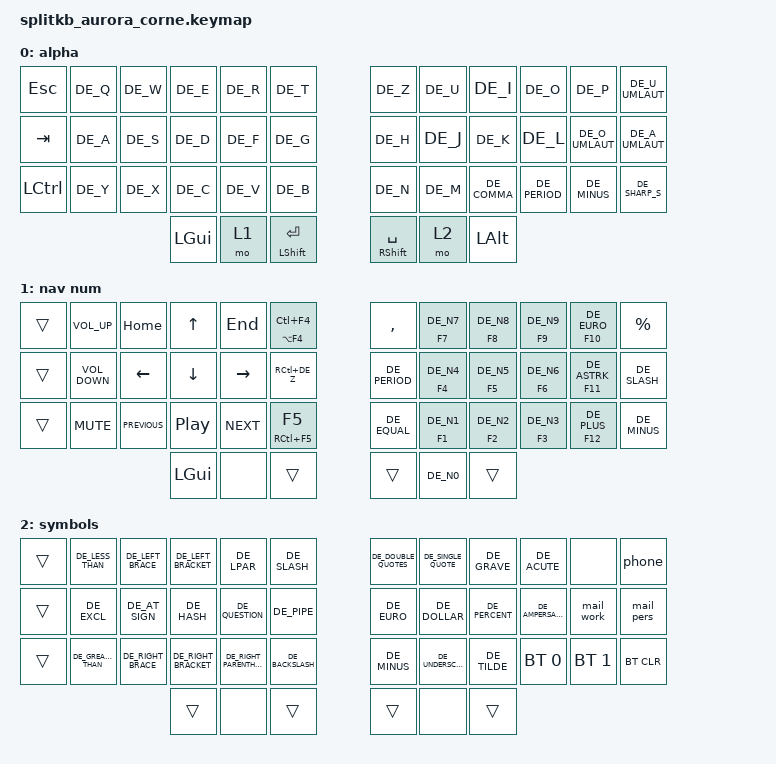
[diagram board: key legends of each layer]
/*
 * Copyright (c) 2020 The ZMK Contributors
 *
 * SPDX-License-Identifier: MIT
 */

#include "keys_de.h"
#include <behaviors.dtsi>
#include <dt-bindings/zmk/bt.h>
#include <dt-bindings/zmk/keys.h>

/ {
    behaviors {
        tapp_hold: tapp_hold {
            compatible = "zmk,behavior-hold-tap";
            label = "TAPP_HOLD";
            bindings = <&kp>, <&kp>;

            #binding-cells = <2>;
            tapping-term-ms = <200>;
            flavor = "balanced";
            hold-trigger-key-positions = <14 7 8 9 10 19 20 21 22 31 32 33 34 41 0 1 2 3 4 5 6 7 8 9 10 11 12 13 14 15 16 17 18 19 20 21 22 23 24 25 26 27 28 29 30 31 32 33 34 35 36 37 38 39 40 41>;
        };

        shift_hold: shift_hold {
            compatible = "zmk,behavior-hold-tap";
            label = "SHIFT_HOLD";
            bindings = <&kp>, <&kp>;

            #binding-cells = <2>;
            tapping-term-ms = <200>;
            flavor = "hold-preferred";
            hold-trigger-key-positions = <38 39 0 1 2 3 4 5 6 7 8 9 10 11 12 13 14 15 16 17 18 19 20 21 22 23 24 25 26 27 28 29 30 31 32 33 34 35 36 37 38 39 40 41>;
        };
    };

    combos {
        compatible = "zmk,combos";

        backspace_left {
            bindings = <&kp BACKSPACE>;
            key-positions = <16 15>;
            layers = <0 1 2>;
        };

        backspace_right {
            bindings = <&kp BACKSPACE>;
            key-positions = <19 20>;
            layers = <0 1 2>;
        };

        backspace_strg_left {
            bindings = <&kp LC(BACKSPACE)>;
            key-positions = <16 15 14>;
            layers = <0 1 2>;
        };

        backspace_strg_right {
            bindings = <&kp LC(BACKSPACE)>;
            key-positions = <19 20 21>;
            layers = <0 1 2>;
        };

        screenshot {
            bindings = <&kp LG(LS(DE_S))>;
            key-positions = <14 36>;
        };

        standyby {
            bindings = <&standby>;
            key-positions = <0 11>;
        };

        del_left {
            bindings = <&kp DELETE>;
            key-positions = <15 14>;
        };

        del_right {
            bindings = <&kp DELETE>;
            key-positions = <20 21>;
        };

        cmd_pal {
            bindings = <&kp LG(LA(DE_SPACE))>;
            key-positions = <36 41>;
            layers = <0 1 2>;
        };

        close_tab {
            bindings = <&kp LC(F4)>;
            key-positions = <2 4>;
            layers = <1 0 2>;
        };

        num_lock {
            bindings = <&tog 1>;
            key-positions = <7 8 9>;
        };

        logout {
            bindings = <&logout>;
            key-positions = <0 5>;
            layers = <1>;
        };
    };

    macros {
        mail_work: new_macro {
            compatible = "zmk,behavior-macro";
            #binding-cells = <0>;
            bindings = <&kp DE_M &kp DE_A &kp DE_R &kp DE_K &kp DE_U &kp DE_S &kp DE_AT_SIGN &kp DE_M &kp DE_A &kp DE_R &kp DE_K &kp DE_U &kp DE_S &kp DE_G &kp DE_R &kp DE_U &kp DE_S &kp DE_C &kp DE_H &kp DE_PERIOD &kp DE_A &kp DE_T>;
            label = "NEW_MACRO";
        };

        mail_pers: mail_personal {
            compatible = "zmk,behavior-macro";
            #binding-cells = <0>;
            bindings = <&kp DE_M &kp DE_PERIOD &kp DE_G &kp DE_R &kp DE_U &kp DE_S &kp DE_C &kp DE_H &kp DE_AT_SIGN &kp DE_G &kp DE_M &kp DE_A &kp DE_I &kp DE_L &kp DE_DOT &kp DE_C &kp DE_O &kp DE_M>;
            label = "MAIL_PERSONAL";
        };

        standby: standby {
            compatible = "zmk,behavior-macro";
            #binding-cells = <0>;
            bindings = <&kp LG(DE_X) &kp LA(DE_R) &kp LA(DE_E)>;
            label = "STANDBY";
            wait-ms = <200>;
            tap-ms = <5>;
        };

        phone: phone {
            compatible = "zmk,behavior-macro";
            #binding-cells = <0>;
            bindings = <&kp DE_PLUS &kp DE_N4 &kp DE_N3 &kp DE_N6 &kp DE_N6 &kp DE_N4 &kp DE_N1 &kp DE_N5 &kp DE_N0 &kp DE_N0 &kp DE_N7 &kp DE_N3 &kp DE_N1>;
            label = "PHONE";
        };

        logout: logout {
            compatible = "zmk,behavior-macro";
            #binding-cells = <0>;
            bindings = <&kp LG(DE_X) &kp LA(DE_R) &kp LA(DE_A)>;
            label = "LOGOUT";
            wait-ms = <200>;
            tap-ms = <5>;
        };
    };

    keymap {
        compatible = "zmk,keymap";

        alpha {
            // -----------------------------------------------------------------------------------------
            // |  TAB |  Q  |  W  |  E  |  R  |  T  |   |  Y  |  U   |  I  |  O  |  P  | BSPC |
            // | CTRL |  A  |  S  |  D  |  F  |  G  |   |  H  |  J   |  K  |  L  |  ;  |  '   |
            // | SHFT |  Z  |  X  |  C  |  V  |  B  |   |  N  |  M   |  ,  |  .  |  /  | ESC  |
            //                    | GUI | LWR | SPC |   | ENT | RSE  | ALT |

            bindings = <
&kp ESC           &kp DE_Q  &kp DE_W  &kp DE_E  &kp DE_R  &kp DE_T                        &kp DE_Z                       &kp DE_U  &kp DE_I      &kp DE_O       &kp DE_P         &kp DE_U_UMLAUT
&kp TAB           &kp DE_A  &kp DE_S  &kp DE_D  &kp DE_F  &kp DE_G                        &kp DE_H                       &kp DE_J  &kp DE_K      &kp DE_L       &kp DE_O_UMLAUT  &kp DE_A_UMLAUT
&kp LEFT_CONTROL  &kp DE_Y  &kp DE_X  &kp DE_C  &kp DE_V  &kp DE_B                        &kp DE_N                       &kp DE_M  &kp DE_COMMA  &kp DE_PERIOD  &kp DE_MINUS     &kp DE_SHARP_S
                                      &kp LGUI  &mo 1     &shift_hold LEFT_SHIFT ENTER    &shift_hold RIGHT_SHIFT SPACE  &mo 2     &kp LEFT_ALT
            >;

            label = "alpha";
        };

        nav_numbers_audio {
            // -----------------------------------------------------------------------------------------
            // |  TAB |  1  |  2  |  3  |  4  |  5  |   |  6  |  7  |  8  |  9  |  0  | BSPC |
            // | BTCLR| BT1 | BT2 | BT3 | BT4 | BT5 |   | LFT | DWN |  UP | RGT |     |      |
            // | SHFT |     |     |     |     |     |   |     |     |     |     |     |      |
            //                    | GUI |     | SPC |   | ENT |     | ALT |

            bindings = <
&trans  &kp C_VOLUME_UP    &kp HOME        &kp UP_ARROW      &kp END     &tapp_hold LA(F4) LC(F4)    &kp COMMA      &tapp_hold F7 DE_N7  &tapp_hold F8 DE_N8  &tapp_hold F9 DE_N9  &tapp_hold F10 DE_EURO   &kp PERCENT
&trans  &kp C_VOLUME_DOWN  &kp LEFT_ARROW  &kp DOWN_ARROW    &kp RIGHT   &kp RC(DE_Z)                &kp DE_PERIOD  &tapp_hold F4 DE_N4  &tapp_hold F5 DE_N5  &tapp_hold F6 DE_N6  &tapp_hold F11 DE_ASTRK  &kp DE_SLASH
&trans  &kp C_MUTE         &kp C_PREVIOUS  &kp C_PLAY_PAUSE  &kp C_NEXT  &tapp_hold RC(F5) F5        &kp DE_EQUAL   &tapp_hold F1 DE_N1  &tapp_hold F2 DE_N2  &tapp_hold F3 DE_N3  &tapp_hold F12 DE_PLUS   &kp DE_MINUS
                                           &kp LGUI          &none       &trans                      &trans         &kp DE_N0            &trans
            >;

            label = "nav num";
        };

        symbols_bt {
            bindings = <
&trans  &kp DE_LESS_THAN     &kp DE_LEFT_BRACE   &kp DE_LEFT_BRACKET   &kp DE_LPAR               &kp DE_SLASH        &kp DE_DOUBLE_QUOTES  &kp DE_SINGLE_QUOTE  &kp DE_GRAVE    &kp DE_ACUTE      &none         &phone
&trans  &kp DE_EXCL          &kp DE_AT_SIGN      &kp DE_HASH           &kp DE_QUESTION           &kp DE_PIPE         &kp DE_EURO           &kp DE_DOLLAR        &kp DE_PERCENT  &kp DE_AMPERSAND  &mail_work    &mail_pers
&trans  &kp DE_GREATER_THAN  &kp DE_RIGHT_BRACE  &kp DE_RIGHT_BRACKET  &kp DE_RIGHT_PARENTHESIS  &kp DE_BACKSLASH    &kp DE_MINUS          &kp DE_UNDERSCORE    &kp DE_TILDE    &bt BT_SEL 0      &bt BT_SEL 1  &bt BT_CLR
                                                 &trans                &none                     &trans              &trans                &none                &trans
            >;

            label = "symbols";
        };
    };
};
